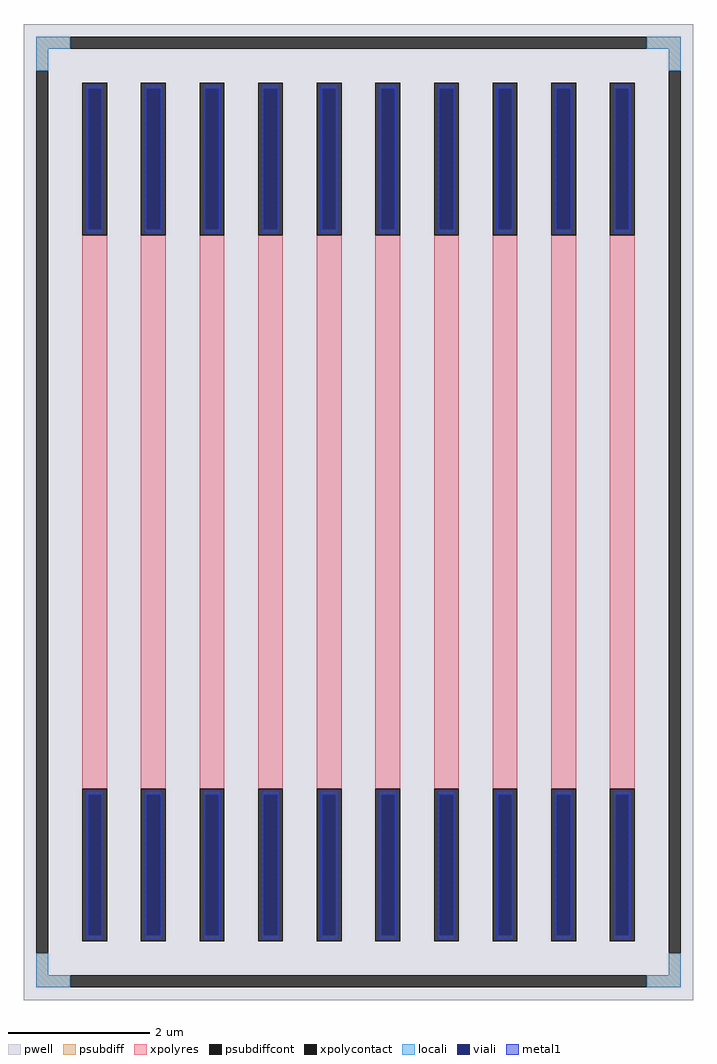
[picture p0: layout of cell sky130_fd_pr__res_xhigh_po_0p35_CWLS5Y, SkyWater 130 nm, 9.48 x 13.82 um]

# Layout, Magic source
magic
tech sky130A
magscale 1 2
<< pwell >>
rect -948 -1382 948 1382
<< psubdiff >>
rect -912 1312 -816 1346
rect 816 1312 912 1346
rect -912 1250 -878 1312
rect 878 1250 912 1312
rect -912 -1312 -878 -1250
rect 878 -1312 912 -1250
rect -912 -1346 -816 -1312
rect 816 -1346 912 -1312
<< psubdiffcont >>
rect -816 1312 816 1346
rect -912 -1250 -878 1250
rect 878 -1250 912 1250
rect -816 -1346 816 -1312
<< xpolycontact >>
rect -782 784 -712 1216
rect -782 -1216 -712 -784
rect -616 784 -546 1216
rect -616 -1216 -546 -784
rect -450 784 -380 1216
rect -450 -1216 -380 -784
rect -284 784 -214 1216
rect -284 -1216 -214 -784
rect -118 784 -48 1216
rect -118 -1216 -48 -784
rect 48 784 118 1216
rect 48 -1216 118 -784
rect 214 784 284 1216
rect 214 -1216 284 -784
rect 380 784 450 1216
rect 380 -1216 450 -784
rect 546 784 616 1216
rect 546 -1216 616 -784
rect 712 784 782 1216
rect 712 -1216 782 -784
<< xpolyres >>
rect -782 -784 -712 784
rect -616 -784 -546 784
rect -450 -784 -380 784
rect -284 -784 -214 784
rect -118 -784 -48 784
rect 48 -784 118 784
rect 214 -784 284 784
rect 380 -784 450 784
rect 546 -784 616 784
rect 712 -784 782 784
<< locali >>
rect -912 1312 -816 1346
rect 816 1312 912 1346
rect -912 1250 -878 1312
rect 878 1250 912 1312
rect -912 -1312 -878 -1250
rect 878 -1312 912 -1250
rect -912 -1346 -816 -1312
rect 816 -1346 912 -1312
<< viali >>
rect -766 801 -728 1198
rect -600 801 -562 1198
rect -434 801 -396 1198
rect -268 801 -230 1198
rect -102 801 -64 1198
rect 64 801 102 1198
rect 230 801 268 1198
rect 396 801 434 1198
rect 562 801 600 1198
rect 728 801 766 1198
rect -766 -1198 -728 -801
rect -600 -1198 -562 -801
rect -434 -1198 -396 -801
rect -268 -1198 -230 -801
rect -102 -1198 -64 -801
rect 64 -1198 102 -801
rect 230 -1198 268 -801
rect 396 -1198 434 -801
rect 562 -1198 600 -801
rect 728 -1198 766 -801
<< metal1 >>
rect -772 1198 -722 1210
rect -772 801 -766 1198
rect -728 801 -722 1198
rect -772 789 -722 801
rect -606 1198 -556 1210
rect -606 801 -600 1198
rect -562 801 -556 1198
rect -606 789 -556 801
rect -440 1198 -390 1210
rect -440 801 -434 1198
rect -396 801 -390 1198
rect -440 789 -390 801
rect -274 1198 -224 1210
rect -274 801 -268 1198
rect -230 801 -224 1198
rect -274 789 -224 801
rect -108 1198 -58 1210
rect -108 801 -102 1198
rect -64 801 -58 1198
rect -108 789 -58 801
rect 58 1198 108 1210
rect 58 801 64 1198
rect 102 801 108 1198
rect 58 789 108 801
rect 224 1198 274 1210
rect 224 801 230 1198
rect 268 801 274 1198
rect 224 789 274 801
rect 390 1198 440 1210
rect 390 801 396 1198
rect 434 801 440 1198
rect 390 789 440 801
rect 556 1198 606 1210
rect 556 801 562 1198
rect 600 801 606 1198
rect 556 789 606 801
rect 722 1198 772 1210
rect 722 801 728 1198
rect 766 801 772 1198
rect 722 789 772 801
rect -772 -801 -722 -789
rect -772 -1198 -766 -801
rect -728 -1198 -722 -801
rect -772 -1210 -722 -1198
rect -606 -801 -556 -789
rect -606 -1198 -600 -801
rect -562 -1198 -556 -801
rect -606 -1210 -556 -1198
rect -440 -801 -390 -789
rect -440 -1198 -434 -801
rect -396 -1198 -390 -801
rect -440 -1210 -390 -1198
rect -274 -801 -224 -789
rect -274 -1198 -268 -801
rect -230 -1198 -224 -801
rect -274 -1210 -224 -1198
rect -108 -801 -58 -789
rect -108 -1198 -102 -801
rect -64 -1198 -58 -801
rect -108 -1210 -58 -1198
rect 58 -801 108 -789
rect 58 -1198 64 -801
rect 102 -1198 108 -801
rect 58 -1210 108 -1198
rect 224 -801 274 -789
rect 224 -1198 230 -801
rect 268 -1198 274 -801
rect 224 -1210 274 -1198
rect 390 -801 440 -789
rect 390 -1198 396 -801
rect 434 -1198 440 -801
rect 390 -1210 440 -1198
rect 556 -801 606 -789
rect 556 -1198 562 -801
rect 600 -1198 606 -801
rect 556 -1210 606 -1198
rect 722 -801 772 -789
rect 722 -1198 728 -801
rect 766 -1198 772 -801
rect 722 -1210 772 -1198
<< properties >>
string FIXED_BBOX -895 -1329 895 1329
string gencell sky130_fd_pr__res_xhigh_po_0p35
string library sky130
string parameters w 0.350 l 8.0 m 1 nx 10 wmin 0.350 lmin 0.50 rho 2000 val 46.789k dummy 0 dw 0.0 term 188.2 sterm 0.0 caplen 0 wmax 0.350 guard 1 glc 1 grc 1 gtc 1 gbc 1 compatible {sky130_fd_pr__res_xhigh_po_0p35  sky130_fd_pr__res_xhigh_po_0p69 sky130_fd_pr__res_xhigh_po_1p41  sky130_fd_pr__res_xhigh_po_2p85 sky130_fd_pr__res_xhigh_po_5p73} snake 0 full_metal 1 n_guard 0 hv_guard 0 vias 1 viagb 0 viagt 0 viagl 0 viagr 0
<< end >>
